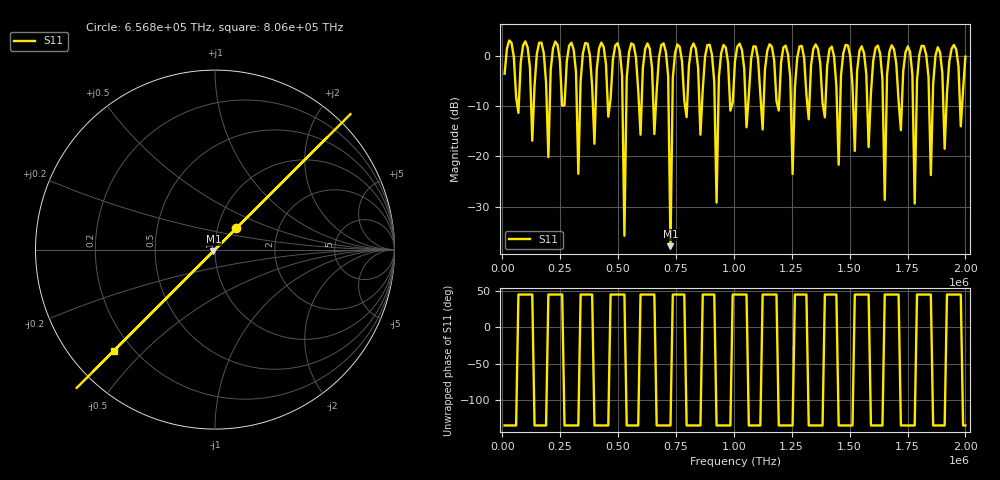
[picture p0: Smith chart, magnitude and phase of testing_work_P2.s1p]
!Created with skrf (http://scikit-rf.org).
# GHz S RI R 50.0
!freq ReS11 ImS11
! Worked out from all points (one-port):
!   201 points, 1e+04 THz to 2e+06 THz, reference 50 ohm
!   lowest |S11| = -37.8 dB at 7.264e+05 THz (marker M1), VSWR 1.03, Z = 49.1 - j0.89 ohm
!   |S11| at or under -10 dB: 6.533e+04 THz to 7.107e+04 THz (5742 THz wide, 8.42 % of centre); 1.247e+05 THz to 1.357e+05 THz (1.099e+04 THz wide, 8.45 % of centre); 1.922e+05 THz to 2.049e+05 THz (1.27e+04 THz wide, 6.4 % of centre) (the widest 3 of 29)
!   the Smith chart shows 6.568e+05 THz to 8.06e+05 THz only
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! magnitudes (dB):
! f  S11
! 1e+04 THz  -3.6
! 2.588e+05 THz  -10.0
! 5.075e+05 THz  0.9
! 5.274e+05 THz  -35.8
! 5.473e+05 THz  0.7
! 7.065e+05 THz  0.7
! 7.264e+05 THz  -37.8
! 7.364e+05 THz  -4.5
! 7.562e+05 THz  2.2
! 8.956e+05 THz  2.2
! 9.254e+05 THz  -29.2
! 9.453e+05 THz  0.5
! 1.005e+06 THz  -1.1
! 1.224e+06 THz  2.0
! 1.254e+06 THz  -23.5
! 1.284e+06 THz  1.8
! 1.453e+06 THz  -21.7
! 1.502e+06 THz  -0.1
! 1.632e+06 THz  0.4
! 1.652e+06 THz  -28.6
! 1.672e+06 THz  0.7
! 1.751e+06 THz  1.8
! 1.781e+06 THz  -29.4
! 1.811e+06 THz  1.9
! 1.851e+06 THz  -23.7
! 1.881e+06 THz  1.7
! 1.91e+06 THz  -18.5
! 2e+06 THz  -0.2
